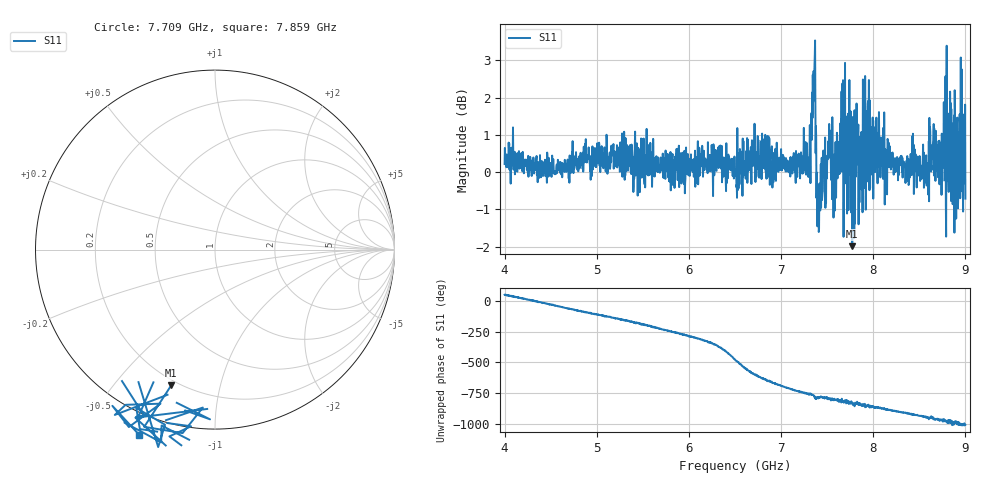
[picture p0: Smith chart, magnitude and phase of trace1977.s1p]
! Created with skrf 1.8.0 (http://scikit-rf.org).
# Hz S RI R 50.0
!freq ReS11 ImS11
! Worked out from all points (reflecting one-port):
!   1601 points, 4 GHz to 9 GHz, reference 50 ohm
!   lowest |S11| = -2.0 dB at 7.772 GHz (marker M1), VSWR 8.77, Z = 8.66 - j35.7 ohm
!   phase of S11 starts at 48 deg and turns -1053 deg over the sweep
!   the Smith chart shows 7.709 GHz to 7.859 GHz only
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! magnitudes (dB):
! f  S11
! 4 GHz  0.2
! 4.625 GHz  -0.1
! 5.25 GHz  0.0
! 5.875 GHz  0.5
! 6.5 GHz  0.0
! 6.688 GHz  0.6
! 7.125 GHz  0.3
! 7.294 GHz  0.3
! 7.347 GHz  1.9
! 7.362 GHz  2.8
! 7.409 GHz  -1.6
! 7.519 GHz  0.9
! 7.588 GHz  -0.1
! 7.669 GHz  1.3
! 7.75 GHz  0.6
! 7.772 GHz  -2.0
! 7.859 GHz  0.9
! 7.928 GHz  0.0
! 7.981 GHz  -0.1
! 8.05 GHz  1.1
! 8.375 GHz  0.1
! 8.575 GHz  0.4
! 8.634 GHz  0.1
! 8.728 GHz  0.0
! 8.784 GHz  2.6
! 8.919 GHz  -1.0
! 8.956 GHz  0.3
! 9 GHz  -0.7
